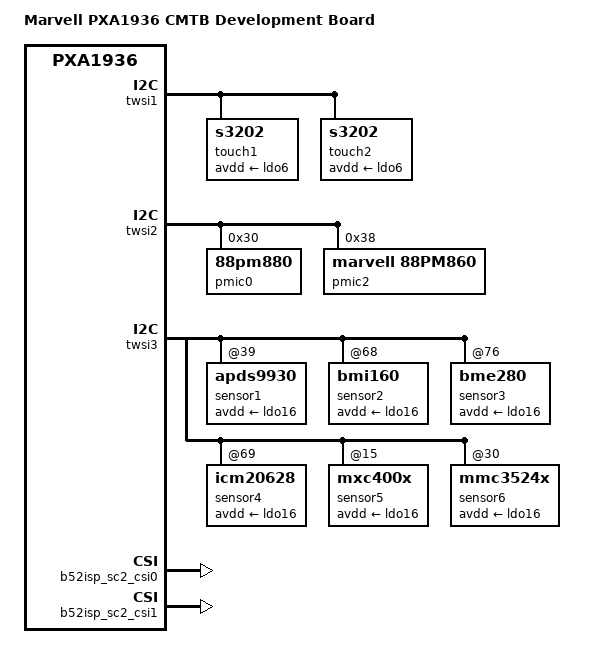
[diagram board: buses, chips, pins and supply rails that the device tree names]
/*
 *  Copyright (C) 2014 Marvell Technology Group Ltd.
 *  Author: Yi Zhang <yizhang@marvell.com>
 *
 *  This program is free software; you can redistribute it and/or modify
 *  it under the terms of the GNU General Public License version 2 as
 *  publishhed by the Free Software Foundation.
 */

/dts-v1/;
#include "pxa1936-board-common.dtsi"

/ {
	model = "Marvell PXA1936 CMTB Development Board";
	compatible = "marvell,pxa1936-dkb", "marvell,pxa1936";
	soc {
		apb@d4000000 {
			pmx: pinmux@d401e000 {
				sspa1_func: sspa1_func {
					/*this config for camera on cmtb board */
					pinctrl-single,pins = <
						GPIO27 AF0
						GPIO28 AF0
					>;
					MFP_LPM_FLOAT;
				};
			};
			twsi1: i2c@d4010800 {
				touch1: s3202@720p {
					avdd-supply = <&ldo6>;
				};

				touch2: s3202@1080p {
					avdd-supply = <&ldo6>;
				};
			};

			twsi2: i2c@d4037000 {
				status = "okay";

				pmic0: 88pm880@30 {
					reg = <0x30>;
					interrupts = <0 4 IRQ_TYPE_LEVEL_HIGH>;
					interrupt-parent = <&gic>;

					dvc {
						pinctrl-names = "default";
						pinctrl-0 = <&dvc_pmx_func>;
					};

					/*
					 * TODO: remove later, fake ldo,
					 * to pass compile
					 */
					ldo19: regulator-ldo19 {
					};
				};

				pmic2: 88pm860@38 {
					compatible = "marvell,88pm860";
					reg = <0x38>;
					marvell,pmic-type = <1>;
					/* no codec_int currently, comment out now */
					/*
					interrupt-parent = <&gpio>;
					interrupts = <124 0x1>;
					marvell,88pm805-irq-write-clear;
					*/
					pm860_codec: pm860_codec {
						compatible = "marvell,88pm860-codec";
						#dailink-cells = <1>;
					};
				};
			};
			twsi3: i2c@d4013800 {
				status = "okay";
				sensor1: apds9930@39 {
					avdd-supply = <&ldo16>;
					};
				sensor2: bmi160@68 {
					avdd-supply = <&ldo16>;
					};

				sensor3: bme280@76 {
					avdd-supply = <&ldo16>;
					};
				sensor4: icm20628@69 {
					avdd-supply = <&ldo16>;
					};
				sensor5: mxc400x@15 {
					avdd-supply = <&ldo16>;
					};
				sensor6: mmc3524x@30 {
					avdd-supply = <&ldo16>;
					};
			};
			map@d1200000 {
				pmic-name = "88pm880";
				vccmain-supply = <&buck1aslp>;
			};
		};

		axi@d4200000 {  /* AXI */
			/* SD card */
			sdh0: sdh@d4280000 {
			      vqmmc-supply    = <&ldo10>;
			      vmmc-supply     = <&ldo14>;
			};
		};
	};
	panel1: r63311 {
		rst_gpio = <&gpio 98 0>;
		power_gpio = <&gpio 96 0>;
		marvell,mipi-backlight;
	};
	panel2: hx8394 {
		rst_gpio = <&gpio 98 0>;
		avdd-supply = <&ldo6>;
	};

	panel3: lg4591 {
		rst_gpio = <&gpio 98 0>;
		avdd-supply = <&ldo6>;
	};

	mmp_m3_1: apsenhb {
		pmicver = <2>;
		vm3pwr-supply = <&ldo3>;
		antpwr-supply = <&ldo4>;
		vccmain-supply = <&buck1aslp>;
	};

	mmp_m3_2: cm3senhb {
		pmicver = <2>;
		vm3pwr-supply = <&ldo3>;
		antpwr-supply = <&ldo4>;
		senpwr-supply = <&ldo16>;
		vccmain-supply = <&buck1aslp>;
	};

	mcam0:mcam@0 {
		sc2-i2c-dyn-ctrl;
		pwdn-gpios = <&gpio 68 0>;
		reset-gpios = <&gpio 67 0>;
		/*
		af_2v8-supply = <&ldo10>;
		avdd_2v8-supply = <&ldo11>;
		dovdd_1v8-supply = <&voutsw>;
		dvdd_1v2-supply = <&ldo12>;
		*/
		dphy_val = <0xff1d00 0x00024733 0x04001001>;
		status = "disable";
	};

	mcam1:mcam@1 {
		sc2-i2c-dyn-ctrl;
		pwdn-gpios = <&gpio 70 0>;
		reset-gpios = <&gpio 69 0>;

		af_2v8-supply = <&ldo8>;
		avdd_2v8-supply = <&ldo7>;
		dovdd_1v8-supply = <&buck2>;
		dvdd_1v2-supply = <&ldo17>;

		dphy_val = <0xff1d00 0x00024733 0x04001001>;
		status = "disable";
	};

	soc-camera@0 {
		status = "disable";
	};

	soc-camera@1 {
		status = "disable";
	};

	plat_cam {
		status = "okay";
		backsensor {
			compatible = "marvell,backsensor";
			#address-cells = <1>;
			#size-cells = <0>;
			status = "okay";

			S5K3L2: sensor@0 {
				compatible = "samsung,s5k3l2";
				status = "okay";
				reg = <0x2d>;
				clocks = <&soc_clocks PXA1936_CLK_SC2_MCLK>;
				clock-names = "SC2MCLK";
				sc2-i2c-dyn-ctrl;
				cmtb_board;
				assume_exist = <0x1>;
				adapter = <0x1>;
				sensor-pos = <1>;
				mclk = <26000000>;
				dphy3 = <0xff4115>;
				dphy5 = <0x247ff>;
				dphy6 = <0x4001001>;
				af_2v8-supply = <&ldo8>;
				avdd_2v8-supply = <&ldo7>;
				dovdd_1v8-supply = <&buck2>;
				dvdd_1v2-supply = <&ldo17>;
				pwdn-gpios = <&gpio 68 1>;
				reset-gpios = <&gpio 67 1>;
				mut-gpios = <&gpio 1 0>;
				ecam1-gpios = <&gpio 27 0>;
				ecam2-gpios = <&gpio 28 0>;
				ecam3-gpios = <&gpio 29 0>;
				ecam4-gpios = <&gpio 30 1>;
				ilim-gpios = <&gpio 0 0>;
				mutfault-gpios = <&gpio 2 0>;
			};
		};
	};

	b52isp_sc2_csi0 {
	        status = "okay";
	};
	b52isp_sc2_csi1 {
			csi_mux_repacked;
	        status = "okay";
	};
	b52isp_sc2_dma0 {
	        status = "okay";
	};
	b52isp_sc2_dma1 {
	        status = "okay";
	};
};

#include "88pm88x.dtsi"
#include "88pm880.dtsi"
#include "88pm88x_battery_common.dtsi"
#include "88pm88x_battery_485760ar.dtsi"
#include "88pm880_pxa1936_dkb.dtsi"
